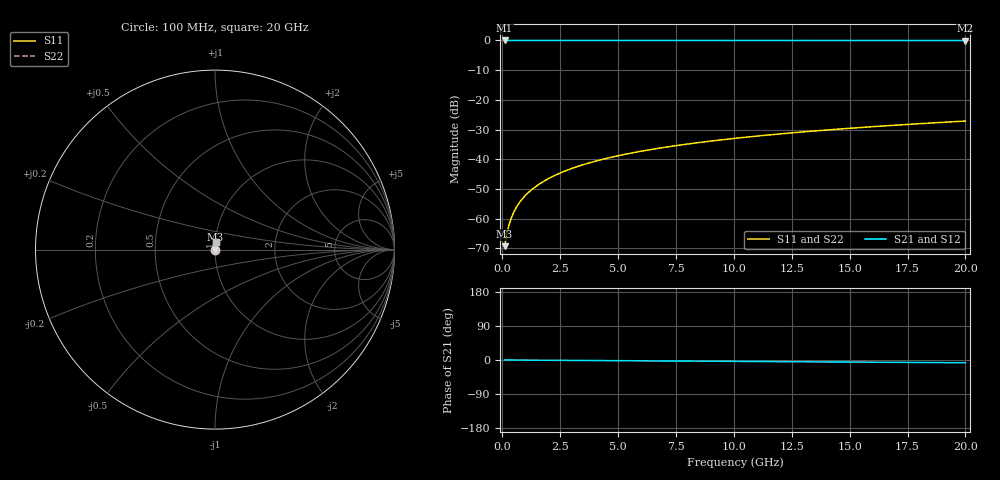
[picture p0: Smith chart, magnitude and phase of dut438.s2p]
! Touchstone file exported from HFSS 2026.1.0
!  File:  C:/ffzhzh/LocalFiles/Ansys_Project_Files/temp_train_TSV_438_1783021350_46388.aedt
!  Generated:  03:44:36 AM Jul  3, 2026
!  Design:  TSV
!  Project:  temp_train_TSV_438_1783021350_46388
! Variables:
!  h_bsmrdl = 2um
!  h_ox = 20um
!  h_rdl = 5um
!  h_sub = 65.15um
!  h_tmrdl = 5um
!  h_tsv = 65.15um
!  h_via = 3um
!  l_bsmrdl = 300um
!  l_sub = 412.48um
!  l_tmrdl = 200um
!  m_sub = 200um
!  pitch = 40.65um
!  r_tsv = 6.24um
!  s_tmrdl = 10um
!  w_bsmrdl = 18um
!  w_sub = 500um
!  w_tmrdl = 12um
!  x_tsv_center1 = 206um
!  x_tsv_center2 = 524um
!  x_tsv_center3 = 736um
!  x_tsv_center4 = 1054um
!  x_tsv_center5 = 1266um
!  x_tsv_center6 = 1584um
# GHz S MA R 50.000000
! Terminal data exported
! Port[1] = TSV1_1_T1
! Port[2] = TSV1_1_T2
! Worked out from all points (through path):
!   200 points, 100 MHz to 20 GHz, reference 50 ohm
!   highest |S21| = 0.00 dB at 100 MHz (marker M1); lowest = 0.0 dB at 20 GHz (marker M2)
!   group delay of S21, straight-line fit = 1 ps
!   lowest |S11| = -69.3 dB at 100 MHz (marker M3), VSWR 1.00, Z = 50 + j0.0259 ohm
!   |S11| at or under -10 dB: start of sweep to end of sweep
!   |S22| runs from -69.3 to -27.1 dB; largest |S21 - S12| = 3.7e-15
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0.1  0.0003443 48.7  0.9998 -0.0  0.9998 -0.0  0.0003443 48.7
! Gamma 0 0 0 0
! Port Impedance 50 0 50 0
0.2  0.0005671 65.3  0.9998 -0.1  0.9998 -0.1  0.0005671 65.3
0.3  0.0008082 71.8  0.9997 -0.1  0.9997 -0.1  0.0008082 71.8
0.4  0.001051 75.1  0.9997 -0.2  0.9997 -0.2  0.001051 75.1
0.5  0.001293 77.0  0.9997 -0.2  0.9997 -0.2  0.001293 77.0
0.6  0.001531 78.3  0.9997 -0.2  0.9997 -0.2  0.001531 78.3
0.7  0.001767 79.2  0.9997 -0.3  0.9997 -0.3  0.001767 79.2
0.8  0.002 79.9  0.9997 -0.3  0.9997 -0.3  0.002 79.9
1  0.002462 80.9  0.9996 -0.4  0.9996 -0.4  0.002462 80.9
1.4  0.003375 82.3  0.9996 -0.5  0.9996 -0.5  0.003375 82.3
1.7  0.004056 82.9  0.9995 -0.6  0.9995 -0.6  0.004056 82.9
2  0.004736 83.4  0.9995 -0.7  0.9995 -0.7  0.004736 83.4
2.7  0.006318 84.0  0.9994 -1.0  0.9994 -1.0  0.006318 84.0
3.5  0.008114 84.3  0.9993 -1.3  0.9993 -1.3  0.008114 84.3
4.2  0.009676 84.4  0.9993 -1.5  0.9993 -1.5  0.009676 84.4
5  0.01145 84.4  0.9992 -1.8  0.9992 -1.8  0.01145 84.4
6.8  0.01541 84.2  0.999 -2.5  0.999 -2.5  0.01541 84.2
8.3  0.01869 84.0  0.9988 -3.0  0.9988 -3.0  0.01869 84.0
10.1  0.02261 83.6  0.9987 -3.7  0.9987 -3.7  0.02261 83.6
13.4  0.02977 82.8  0.9983 -4.9  0.9983 -4.9  0.02977 82.8
16.7  0.03688 81.8  0.9979 -6.1  0.9979 -6.1  0.03688 81.8
20  0.04395 80.8  0.9975 -7.2  0.9975 -7.2  0.04395 80.8
